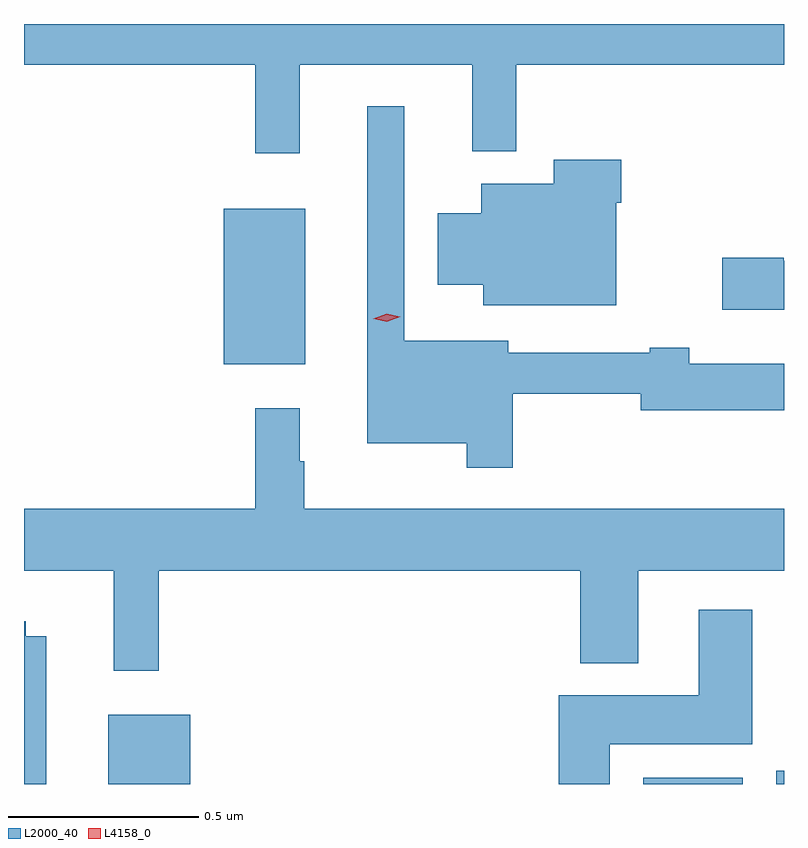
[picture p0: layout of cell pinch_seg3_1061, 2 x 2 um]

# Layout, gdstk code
import gdstk
lib = gdstk.Library(unit=1e-6, precision=1e-09)
def R(c, l, rs):  # rectangles x0, y0, x1, y1
    for r in rs: c.add(gdstk.rectangle(r[:2], r[2:], *l))
def P(c, l, *ps):  # polygons
    for p in ps: c.add(gdstk.Polygon(p, *l))
L2000_40 = (2000, 40)
L4158_0 = (4158, 0)

pinch_seg3_1061 = lib.new_cell('pinch_seg3_1061')
R(pinch_seg3_1061, L2000_40, [(337.991,695.027,338.206,695.209), (339.398,695.027,339.661,695.044), (339.749,695.027,339.769,695.062), (338.294,696.131,338.509,696.541)])
P(pinch_seg3_1061, L2000_40, [(338.495,696.92),(338.948,696.92),(338.948,696.692),(339.065,696.692),(339.065,696.92),(339.769,696.92),(339.769,697.027),(337.769,697.027),(337.769,696.92),(338.377,696.92),(338.377,696.687),(338.495,696.687)],
  [(339.055,696.054),(339.392,696.054),(339.392,696.011),(339.769,696.011),(339.769,696.133),(339.52,696.133),(339.52,696.175),(339.416,696.175),(339.416,696.162),(339.043,696.162),(339.043,696.193),(338.769,696.193),(338.769,696.811),(338.672,696.811),(338.672,695.924),(338.934,695.924),(338.934,695.859),(339.055,695.859)],
  [(339.328,696.557),(339.341,696.557),(339.341,696.67),(339.163,696.67),(339.163,696.607),(338.972,696.607),(338.972,696.529),(338.858,696.529),(338.858,696.341),(338.978,696.341),(338.978,696.287),(339.328,696.287)],
  [(339.769,696.404),(339.768,696.404),(339.768,696.412),(339.606,696.412),(339.606,696.275),(339.769,696.275)],
  [(338.123,695.588),(339.233,695.588),(339.233,695.345),(339.385,695.345),(339.385,695.588),(339.769,695.588),(339.769,695.752),(338.506,695.752),(338.506,695.876),(338.494,695.876),(338.494,696.016),(338.377,696.016),(338.377,695.752),(337.769,695.752),(337.769,695.588),(338.005,695.588),(338.005,695.325),(338.123,695.325)],
  [(339.31,695.132),(339.685,695.132),(339.685,695.485),(339.545,695.485),(339.545,695.26),(339.176,695.26),(339.176,695.027),(339.31,695.027)],
  [(337.828,695.416),(337.774,695.416),(337.774,695.455),(337.769,695.455),(337.769,695.027),(337.828,695.027)])
P(pinch_seg3_1061, L4158_0, [(338.724,696.244),(338.688,696.252),(338.688,696.252),(338.688,696.252),(338.723,696.264),(338.759,696.257),(338.759,696.256),(338.759,696.256)])

lib.write_gds('pinch_seg3_1061.gds')
